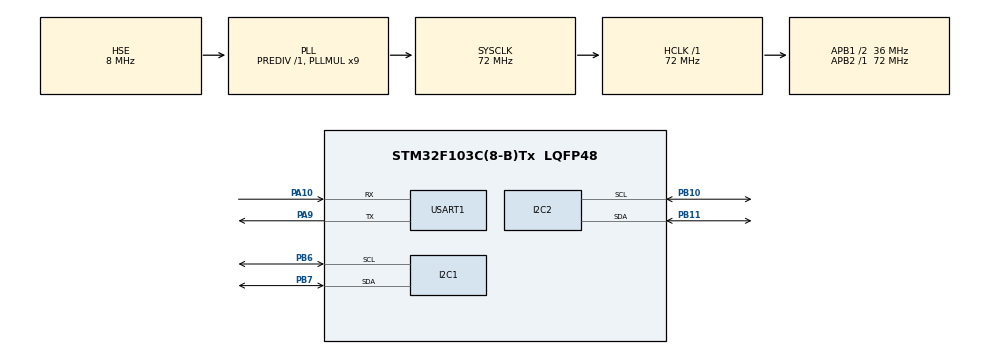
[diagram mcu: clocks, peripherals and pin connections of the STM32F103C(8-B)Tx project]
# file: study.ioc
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FREERTOS.Tasks01=MasterTask,0,128,Master_Task,Default,NULL,Dynamic,NULL,NULL;SlaveTask,0,128,Slave_Task,Default,NULL,Dynamic,NULL,NULL
I2C1.OwnAddress=0x40
I2C2.OwnAddress=0x50
Mcu.Family=STM32F1
Mcu.Name=STM32F103C(8-B)Tx
Mcu.Package=LQFP48
NVIC.I2C1_ER_IRQn=true\:5\:0\:false\:false\:true\:true\:true\:true\:true
NVIC.I2C1_EV_IRQn=true\:5\:0\:false\:false\:true\:true\:true\:true\:true
NVIC.I2C2_ER_IRQn=true\:5\:0\:false\:false\:true\:true\:true\:true\:true
NVIC.I2C2_EV_IRQn=true\:5\:0\:false\:false\:true\:true\:true\:true\:true
NVIC.PriorityGroup=NVIC_PRIORITYGROUP_4
NVIC.TIM1_UP_IRQn=true\:15\:0\:false\:false\:true\:false\:false\:true\:true
NVIC.TimeBase=TIM1_UP_IRQn
NVIC.TimeBaseIP=TIM1
PA10.Mode=Asynchronous
PA10.Signal=USART1_RX
PA13.Mode=Serial_Wire
PA13.Signal=SYS_JTMS-SWDIO
PA14.Mode=Serial_Wire
PA14.Signal=SYS_JTCK-SWCLK
PA9.Mode=Asynchronous
PA9.Signal=USART1_TX
PB10.Mode=I2C
PB10.Signal=I2C2_SCL
PB11.Mode=I2C
PB11.Signal=I2C2_SDA
PB6.Mode=I2C
PB6.Signal=I2C1_SCL
PB7.Mode=I2C
PB7.Signal=I2C1_SDA
PD0-OSC_IN.Mode=HSE-External-Oscillator
PD0-OSC_IN.Signal=RCC_OSC_IN
PD1-OSC_OUT.Mode=HSE-External-Oscillator
PD1-OSC_OUT.Signal=RCC_OSC_OUT
ProjectManager.HeapSize=0x200
ProjectManager.StackSize=0x400
ProjectManager.TargetToolchain=MDK-ARM V5.32
RCC.AHBFreq_Value=72000000
RCC.APB1CLKDivider=RCC_HCLK_DIV2
RCC.APB1Freq_Value=36000000
RCC.APB1TimFreq_Value=72000000
RCC.APB2Freq_Value=72000000
RCC.APB2TimFreq_Value=72000000
RCC.HCLKFreq_Value=72000000
RCC.PLLMUL=RCC_PLL_MUL9
RCC.PLLSourceVirtual=RCC_PLLSOURCE_HSE
RCC.SYSCLKFreq_VALUE=72000000
RCC.SYSCLKSource=RCC_SYSCLKSOURCE_PLLCLK
RCC.USBFreq_Value=72000000
USART1.VirtualMode=VM_ASYNC
VP_FREERTOS_VS_CMSIS_V1.Mode=CMSIS_V1
VP_SYS_VS_tim1.Mode=TIM1
board=custom

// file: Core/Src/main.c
/* USER CODE BEGIN Header */
/**
  ******************************************************************************
  * @file           : main.c
  * @brief          : Main program body
  ******************************************************************************
  * @attention
  *
  * Copyright (c) 2026 STMicroelectronics.
  * All rights reserved.
  *
  * This software is licensed under terms that can be found in the LICENSE file
  * in the root directory of this software component.
  * If no LICENSE file comes with this software, it is provided AS-IS.
  *
  ******************************************************************************
  */
/* USER CODE END Header */
#include "main.h"
#include "cmsis_os.h"
#include "i2c.h"
#include "usart.h"
#include "gpio.h"

/* USER CODE BEGIN Includes */
#include "slave.h"
/* USER CODE END Includes */

void SystemClock_Config(void);
void MX_FREERTOS_Init(void);

int main(void)
{

  /* MCU Configuration--------------------------------------------------------*/

  /* Reset of all peripherals, Initializes the Flash interface and the Systick. */
  HAL_Init();

  /* Configure the system clock */
  SystemClock_Config();

  /* Initialize all configured peripherals */
  MX_GPIO_Init();
  MX_I2C1_Init();
  MX_I2C2_Init();
  MX_USART1_UART_Init();
  /* USER CODE BEGIN 2 */
  Slave_Init();
  /* USER CODE END 2 */

  /* Call init function for freertos objects (in cmsis_os2.c) */
  MX_FREERTOS_Init();

  /* Start scheduler */
  osKernelStart();

  /* We should never get here as control is now taken by the scheduler */

  /* Infinite loop */
  while (1)
  {

  }
}

void SystemClock_Config(void)
{
  RCC_OscInitTypeDef RCC_OscInitStruct = {0};
  RCC_ClkInitTypeDef RCC_ClkInitStruct = {0};

  /** Initializes the RCC Oscillators according to the specified parameters
  * in the RCC_OscInitTypeDef structure.
  */
  RCC_OscInitStruct.OscillatorType = RCC_OSCILLATORTYPE_HSE;
  RCC_OscInitStruct.HSEState = RCC_HSE_ON;
  RCC_OscInitStruct.HSEPredivValue = RCC_HSE_PREDIV_DIV1;
  RCC_OscInitStruct.HSIState = RCC_HSI_ON;
  RCC_OscInitStruct.PLL.PLLState = RCC_PLL_ON;
  RCC_OscInitStruct.PLL.PLLSource = RCC_PLLSOURCE_HSE;
  RCC_OscInitStruct.PLL.PLLMUL = RCC_PLL_MUL9;
  if (HAL_RCC_OscConfig(&RCC_OscInitStruct) != HAL_OK)
  {
    Error_Handler();
  }

  /** Initializes the CPU, AHB and APB buses clocks
  */
  RCC_ClkInitStruct.ClockType = RCC_CLOCKTYPE_HCLK|RCC_CLOCKTYPE_SYSCLK
                              |RCC_CLOCKTYPE_PCLK1|RCC_CLOCKTYPE_PCLK2;
  RCC_ClkInitStruct.SYSCLKSource = RCC_SYSCLKSOURCE_PLLCLK;
  RCC_ClkInitStruct.AHBCLKDivider = RCC_SYSCLK_DIV1;
  RCC_ClkInitStruct.APB1CLKDivider = RCC_HCLK_DIV2;
  RCC_ClkInitStruct.APB2CLKDivider = RCC_HCLK_DIV1;

  if (HAL_RCC_ClockConfig(&RCC_ClkInitStruct, FLASH_LATENCY_2) != HAL_OK)
  {
    Error_Handler();
  }
}

void HAL_TIM_PeriodElapsedCallback(TIM_HandleTypeDef *htim)
{
  if (htim->Instance == TIM1)
  {
    HAL_IncTick();
  }
}

void Error_Handler(void)
{
  __disable_irq();
  while (1)
  {
  }
}

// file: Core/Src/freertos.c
/* USER CODE BEGIN Header */
/**
  ******************************************************************************
  * File Name          : freertos.c
  * Description        : Code for freertos applications
  ******************************************************************************
  * @attention
  *
  * Copyright (c) 2026 STMicroelectronics.
  * All rights reserved.
  *
  * This software is licensed under terms that can be found in the LICENSE file
  * in the root directory of this software component.
  * If no LICENSE file comes with this software, it is provided AS-IS.
  *
  ******************************************************************************
  */
/* USER CODE END Header */

#include "FreeRTOS.h"
#include "task.h"
#include "main.h"
#include "cmsis_os.h"

/* USER CODE BEGIN Includes */
#include "master.h"
#include "slave.h"
#include "BSP_IIC.h"
#include <string.h>
#include "BSP_UART.h"
/* USER CODE END Includes */

osThreadId MasterTaskHandle;
osThreadId SlaveTaskHandle;

void Master_Task(void const * argument);
void Slave_Task(void const * argument);

void MX_FREERTOS_Init(void); /* (MISRA C 2004 rule 8.1) */

/* GetIdleTaskMemory prototype (linked to static allocation support) */
void vApplicationGetIdleTaskMemory( StaticTask_t **ppxIdleTaskTCBBuffer, StackType_t **ppxIdleTaskStackBuffer, uint32_t *pulIdleTaskStackSize );

/* USER CODE BEGIN GET_IDLE_TASK_MEMORY */
static StaticTask_t xIdleTaskTCBBuffer;
static StackType_t xIdleStack[configMINIMAL_STACK_SIZE];

void vApplicationGetIdleTaskMemory( StaticTask_t **ppxIdleTaskTCBBuffer, StackType_t **ppxIdleTaskStackBuffer, uint32_t *pulIdleTaskStackSize )
{
  *ppxIdleTaskTCBBuffer = &xIdleTaskTCBBuffer;
  *ppxIdleTaskStackBuffer = &xIdleStack[0];
  *pulIdleTaskStackSize = configMINIMAL_STACK_SIZE;
  /* place for user code */
}
/* USER CODE END GET_IDLE_TASK_MEMORY */

void MX_FREERTOS_Init(void) {

  /* Create the thread(s) */
  /* definition and creation of MasterTask */
  osThreadDef(MasterTask, Master_Task, osPriorityNormal, 0, 128);
  MasterTaskHandle = osThreadCreate(osThread(MasterTask), NULL);

  /* definition and creation of SlaveTask */
  osThreadDef(SlaveTask, Slave_Task, osPriorityNormal, 0, 128);
  SlaveTaskHandle = osThreadCreate(osThread(SlaveTask), NULL);

}

void Master_Task(void const * argument)
{
  /* USER CODE BEGIN Master_Task */
	TimeData_t master_time = {2026, 8, 27, 12, 0, 0};
	uint32_t wait_start;
  /* Infinite loop: 周期性发送时间到从机, 并读取从机传感器数据 */
  for(;;)
  {
    /* 主机发送时间到从机 */
    if (Master_SendTime(&master_time) == 0)
    {
      printf("[Master] Send Time: %04u-%02u-%02u %02u:%02u:%02u\r\n",
             master_time.year, master_time.month, master_time.day,
             master_time.hour, master_time.minute, master_time.second);
    }
    else
    {
      printf("[Master] Send Time FAILED\r\n");
    }

    /* 时间自增 (每秒 +1 秒, 简化处理) */
    master_time.second++;
    if (master_time.second >= 60)
    {
      master_time.second = 0;
      master_time.minute++;
      if (master_time.minute >= 60)
      {
        master_time.minute = 0;
        master_time.hour++;
        if (master_time.hour >= 24)
        {
          master_time.hour = 0;
        }
      }
    }

    osDelay(500);

    /* 主机读取从机温湿度、光照强度 (中断接收方式) */
    if (Master_ReadSensor() == 0)
    {
      /* 轮询等待中断接收完成, 超时 1000ms */
      wait_start = HAL_GetTick();
      while ((g_master_rx_done == 0) && ((HAL_GetTick() - wait_start) < 1000))
      {
        osDelay(1);
      }

      if (g_master_rx_done != 0)
      {
        /* 解析传感器帧 */
        if (Master_ParseSensor(g_master_buffer.rx_buf, &g_master_sensor) == 0)
        {
          /* 光照合法范围兜底校验 (从机生成范围 0 ~ 999) */
          if ((g_master_sensor.light >= 0) && (g_master_sensor.light <= 999))
          {
            printf("[Master] Read Sensor: Temp=%d.%d C, Humi=%d.%d %%, Light=%d lux\r\n",
                   g_master_sensor.temperature / 10, g_master_sensor.temperature % 10,
                   g_master_sensor.humidity / 10, g_master_sensor.humidity % 10,
                   g_master_sensor.light);
          }
          else
          {
            printf("[Master] Sensor data INVALID, dropped\r\n");
          }
        }
        else
        {
          printf("[Master] Sensor PARSE ERROR, dropped\r\n");
        }
      }
      else
      {
        printf("[Master] Read Sensor TIMEOUT\r\n");
      }
    }
    else
    {
      printf("[Master] Read Sensor FAILED\r\n");
    }

    osDelay(500);
  }
  /* USER CODE END Master_Task */
}

void Slave_Task(void const * argument)
{
  /* USER CODE BEGIN Slave_Task */

  /* Infinite loop: 更新模拟传感器数据, 打印接收到的时间和当前传感器值 */
  for(;;)
  {
    /* 检查并恢复 I2C 监听模式 (处理非 AF 错误) */
    Slave_RecoverI2C();

    /* 更新从机模拟传感器数据 */
    Slave_UpdateSensor();

    /* 接收到主机时间数据后, 在任务中解析 (中断只置标志) */
    if (g_slave_rx_done != 0)
    {
      g_slave_rx_done = 0;
      Slave_ParseTime(g_slave_buffer.rx_buf, &g_slave_time);
    }

    /* 打印从机接收到的主机时间 */
    printf("[Slave]  Recv Time: %04u-%02u-%02u %02u:%02u:%02u\r\n",
           g_slave_time.year, g_slave_time.month, g_slave_time.day,
           g_slave_time.hour, g_slave_time.minute, g_slave_time.second);

    osDelay(1000);
  }
  /* USER CODE END Slave_Task */
}
